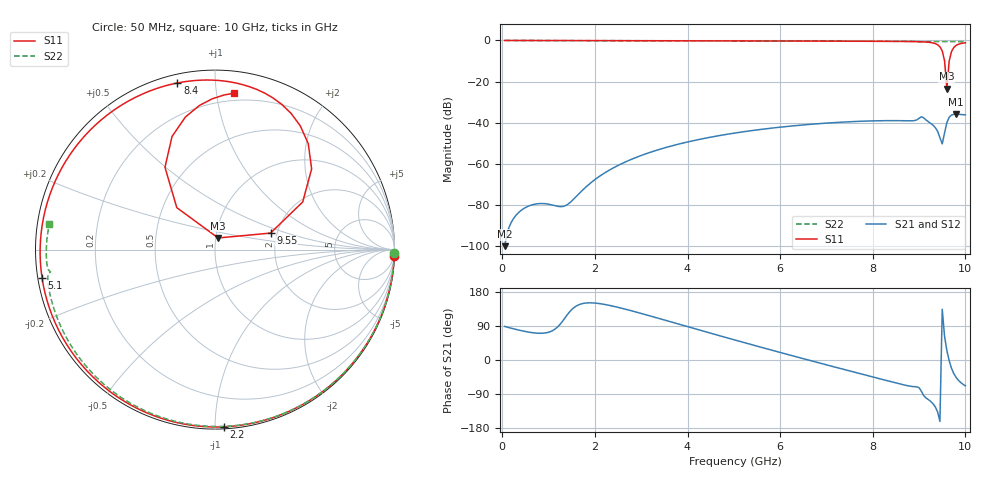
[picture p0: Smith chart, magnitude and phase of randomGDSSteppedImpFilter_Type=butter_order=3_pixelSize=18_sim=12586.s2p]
! freq	dB(S11)	phase(S11)	dB(S12)	phase(S12)
!  dB(S21)	phase(S21)	dB(S22)	phase(S22)
!S-par simulation data
#  GHz  S  DB  R 50
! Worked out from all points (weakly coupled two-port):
!   200 points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, 50 MHz to 10 GHz, reference 50 ohm
!   highest |S21| = -35.88 dB at 9.8 GHz (marker M1); lowest = -100.1 dB at 50 MHz (marker M2)
!   lowest |S11| = -23.5 dB at 9.6 GHz (marker M3), VSWR 1.14, Z = 51.4 + j6.69 ohm
!   |S11| at or under -10 dB: 9.551 GHz to 9.65 GHz (99.34 MHz wide, 1.03 % of centre)
!   |S22| runs from -0.7 to 0.0 dB; largest |S21 - S12| = 0
!   S11 on the Smith chart (normalised r, x): 50 MHz: 0, -53; 2.2 GHz: 0.01, -1.05; 5.1 GHz: 0.01, -0.08; 8.4 GHz: 0.04, +0.80; 9.55 GHz: 1.85, +0.38; 10 GHz: 0.15, +1.12
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0.05  -0.00 -2.2  -100.11 88.6  -100.11 88.6  -0.00 -1.1
0.65  -0.04 -27.6  -79.96 72.0  -79.96 72.0  -0.02 -14.4
1.4  -0.07 -57.9  -79.96 118.9  -79.96 118.9  -0.04 -30.8
1.75  -0.08 -71.1  -72.49 149.4  -72.49 149.4  -0.05 -38.4
2.2  -0.10 -87.1  -64.61 146.9  -64.61 146.9  -0.06 -47.9
3.4  -0.14 -125.1  -52.96 109.1  -52.96 109.1  -0.10 -72.2
5.05  -0.21 -169.5  -44.96 51.8  -44.96 51.8  -0.16 -103.2
5.1  -0.21 -170.7  -44.79 50.1  -44.79 50.1  -0.16 -104.1
6.7  -0.30 149.3  -40.73 -3.1  -40.73 -3.1  -0.25 -132.0
8.35  -0.42 104.3  -39.01 -55.8  -39.01 -55.8  -0.39 -160.1
8.4  -0.43 102.7  -39.01 -57.4  -39.01 -57.4  -0.40 -160.9
8.9  -0.55 84.9  -39.01 -70.5  -39.01 -70.5  -0.48 -170.0
9.05  -0.65 78.0  -37.11 -82.5  -37.11 -82.5  -0.69 -172.3
9.25  -1.01 65.3  -40.31 -109.2  -40.31 -109.2  -0.54 -175.1
9.4  -2.09 48.7  -44.23 -137.1  -44.23 -137.1  -0.53 -177.9
9.5  -5.10 28.5  -50.32 133.9  -50.32 133.9  -0.54 -179.7
9.55  -9.82 16.6  -45.02 62.7  -45.02 62.7  -0.54 179.4
9.6  -23.46 74.7  -39.98 25.0  -39.98 25.0  -0.55 178.4
9.65  -10.00 132.3  -37.39 -2.0  -37.39 -2.0  -0.55 177.5
9.7  -5.41 121.3  -36.31 -21.8  -36.31 -21.8  -0.56 176.6
9.8  -2.42 102.6  -35.88 -46.1  -35.88 -46.1  -0.57 174.8
10  -1.13 83.0  -36.22 -68.2  -36.22 -68.2  -0.59 171.1
